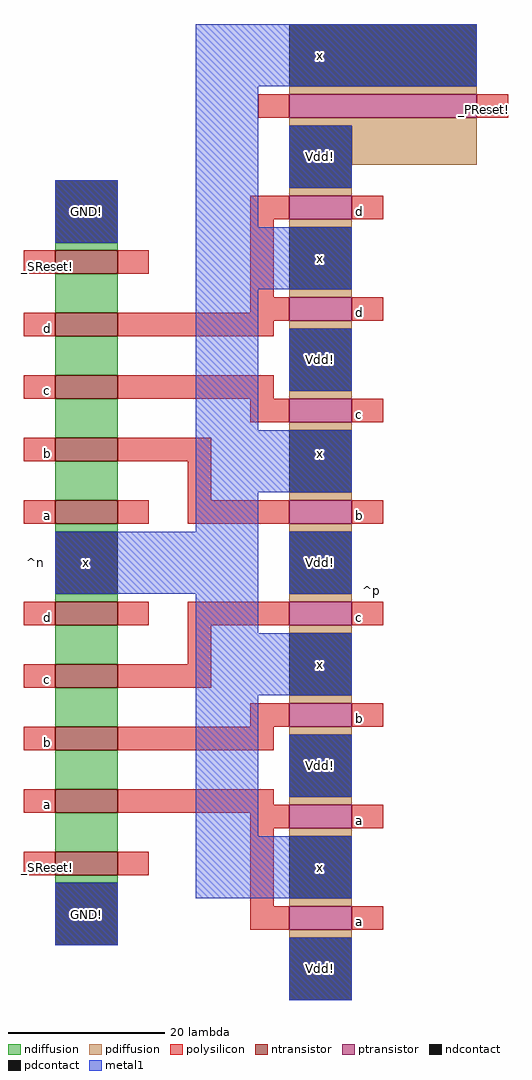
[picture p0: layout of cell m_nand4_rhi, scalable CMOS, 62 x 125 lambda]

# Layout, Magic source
magic
tech scmos
<< ndiffusion >>
rect -211 -724 -203 -723
rect -211 -732 -203 -727
rect -211 -740 -203 -735
rect -211 -748 -203 -743
rect -211 -756 -203 -751
rect -211 -760 -203 -759
rect -211 -769 -203 -768
rect -211 -777 -203 -772
rect -211 -785 -203 -780
rect -211 -793 -203 -788
rect -211 -801 -203 -796
rect -211 -805 -203 -804
<< pdiffusion >>
rect -181 -704 -157 -703
rect -181 -708 -157 -707
rect -173 -713 -157 -708
rect -181 -717 -173 -716
rect -181 -721 -173 -720
rect -181 -730 -173 -729
rect -181 -734 -173 -733
rect -181 -743 -173 -742
rect -181 -747 -173 -746
rect -181 -756 -173 -755
rect -181 -760 -173 -759
rect -181 -769 -173 -768
rect -181 -773 -173 -772
rect -181 -782 -173 -781
rect -181 -786 -173 -785
rect -181 -795 -173 -794
rect -181 -799 -173 -798
rect -181 -808 -173 -807
rect -181 -812 -173 -811
<< ntransistor >>
rect -211 -727 -203 -724
rect -211 -735 -203 -732
rect -211 -743 -203 -740
rect -211 -751 -203 -748
rect -211 -759 -203 -756
rect -211 -772 -203 -769
rect -211 -780 -203 -777
rect -211 -788 -203 -785
rect -211 -796 -203 -793
rect -211 -804 -203 -801
<< ptransistor >>
rect -181 -707 -157 -704
rect -181 -720 -173 -717
rect -181 -733 -173 -730
rect -181 -746 -173 -743
rect -181 -759 -173 -756
rect -181 -772 -173 -769
rect -181 -785 -173 -782
rect -181 -798 -173 -795
rect -181 -811 -173 -808
<< polysilicon >>
rect -185 -707 -181 -704
rect -157 -707 -153 -704
rect -186 -720 -181 -717
rect -173 -720 -169 -717
rect -215 -727 -211 -724
rect -203 -727 -199 -724
rect -186 -730 -183 -720
rect -186 -732 -181 -730
rect -215 -735 -211 -732
rect -203 -733 -181 -732
rect -173 -733 -169 -730
rect -203 -735 -183 -733
rect -215 -743 -211 -740
rect -203 -743 -183 -740
rect -186 -746 -181 -743
rect -173 -746 -169 -743
rect -215 -751 -211 -748
rect -203 -751 -191 -748
rect -194 -756 -191 -751
rect -215 -759 -211 -756
rect -203 -759 -199 -756
rect -194 -759 -181 -756
rect -173 -759 -169 -756
rect -215 -772 -211 -769
rect -203 -772 -199 -769
rect -194 -772 -181 -769
rect -173 -772 -169 -769
rect -194 -777 -191 -772
rect -215 -780 -211 -777
rect -203 -780 -191 -777
rect -186 -785 -181 -782
rect -173 -785 -169 -782
rect -215 -788 -211 -785
rect -203 -788 -183 -785
rect -215 -796 -211 -793
rect -203 -795 -183 -793
rect -203 -796 -181 -795
rect -186 -798 -181 -796
rect -173 -798 -169 -795
rect -215 -804 -211 -801
rect -203 -804 -199 -801
rect -186 -808 -183 -798
rect -186 -811 -181 -808
rect -173 -811 -169 -808
<< ndcontact >>
rect -211 -723 -203 -715
rect -211 -768 -203 -760
rect -211 -813 -203 -805
<< pdcontact >>
rect -181 -703 -157 -695
rect -181 -716 -173 -708
rect -181 -729 -173 -721
rect -181 -742 -173 -734
rect -181 -755 -173 -747
rect -181 -768 -173 -760
rect -181 -781 -173 -773
rect -181 -794 -173 -786
rect -181 -807 -173 -799
rect -181 -820 -173 -812
<< metal1 >>
rect -193 -703 -157 -695
rect -211 -723 -203 -715
rect -193 -721 -185 -703
rect -181 -716 -173 -708
rect -193 -729 -173 -721
rect -193 -747 -185 -729
rect -181 -742 -173 -734
rect -193 -755 -173 -747
rect -193 -760 -185 -755
rect -211 -768 -185 -760
rect -181 -768 -173 -760
rect -193 -773 -185 -768
rect -193 -781 -173 -773
rect -193 -799 -185 -781
rect -181 -794 -173 -786
rect -211 -813 -203 -805
rect -193 -807 -173 -799
rect -181 -820 -173 -812
<< labels >>
rlabel metal1 -177 -750 -177 -750 1 x
rlabel metal1 -177 -816 -177 -816 1 Vdd!
rlabel metal1 -177 -725 -177 -725 5 x
rlabel polysilicon -172 -810 -172 -810 7 a
rlabel polysilicon -172 -719 -172 -719 7 d
rlabel metal1 -177 -738 -177 -738 5 Vdd!
rlabel metal1 -177 -764 -177 -764 5 Vdd!
rlabel metal1 -177 -790 -177 -790 1 Vdd!
rlabel metal1 -177 -803 -177 -803 1 x
rlabel metal1 -177 -777 -177 -777 5 x
rlabel metal1 -177 -712 -177 -712 1 Vdd!
rlabel polysilicon -172 -784 -172 -784 7 b
rlabel polysilicon -172 -732 -172 -732 7 d
rlabel polysilicon -172 -797 -172 -797 7 a
rlabel polysilicon -172 -771 -172 -771 7 c
rlabel polysilicon -172 -758 -172 -758 7 b
rlabel polysilicon -172 -745 -172 -745 7 c
rlabel metal1 -177 -699 -177 -699 5 x
rlabel space -173 -820 -168 -715 3 ^p
rlabel polysilicon -156 -706 -156 -706 7 _PReset!
rlabel polysilicon -212 -758 -212 -758 3 a
rlabel polysilicon -212 -750 -212 -750 3 b
rlabel polysilicon -212 -742 -212 -742 3 c
rlabel metal1 -207 -764 -207 -764 5 x
rlabel polysilicon -212 -734 -212 -734 1 d
rlabel polysilicon -212 -787 -212 -787 3 b
rlabel polysilicon -212 -795 -212 -795 3 a
rlabel polysilicon -212 -779 -212 -779 1 c
rlabel polysilicon -212 -726 -212 -726 1 _SReset!
rlabel metal1 -207 -719 -207 -719 5 GND!
rlabel metal1 -207 -809 -207 -809 1 GND!
rlabel polysilicon -212 -803 -212 -803 1 _SReset!
rlabel polysilicon -212 -771 -212 -771 1 d
rlabel space -216 -813 -211 -715 7 ^n
<< end >>
